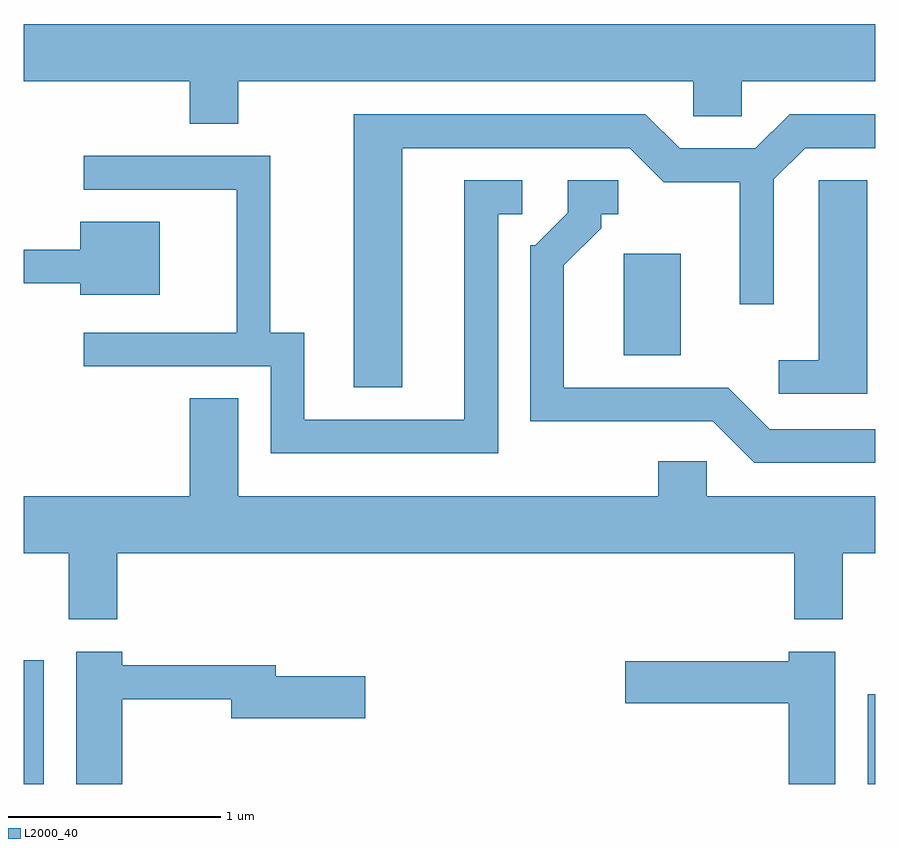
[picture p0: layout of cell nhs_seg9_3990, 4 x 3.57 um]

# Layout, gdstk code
import gdstk
lib = gdstk.Library(unit=1e-6, precision=1e-09)
def R(c, l, rs):  # rectangles x0, y0, x1, y1
    for r in rs: c.add(gdstk.rectangle(r[:2], r[2:], *l))
def P(c, l, *ps):  # polygons
    for p in ps: c.add(gdstk.Polygon(p, *l))
L2000_40 = (2000, 40)

nhs_seg9_3990 = lib.new_cell('nhs_seg9_3990')
R(nhs_seg9_3990, L2000_40, [(301.611,2068.432,301.704,2069.014), (305.576,2068.432,305.611,2068.854), (304.431,2070.446,304.699,2070.924)])
P(nhs_seg9_3990, L2000_40, [(302.619,2071.736),(304.756,2071.736),(304.756,2071.571),(304.984,2071.571),(304.984,2071.736),(305.611,2071.736),(305.611,2072.004),(301.611,2072.004),(301.611,2071.736),(302.391,2071.736),(302.391,2071.536),(302.619,2071.536)],
  [(303.389,2071.421),(304.459,2071.421),(304.619,2071.261),(304.976,2071.261),(304.976,2070.688),(305.134,2070.688),(305.134,2071.274),(305.282,2071.421),(305.611,2071.421),(305.611,2071.579),(305.209,2071.579),(305.049,2071.419),(304.692,2071.419),(304.532,2071.579),(303.161,2071.579),(303.161,2070.296),(303.389,2070.296)],
  [(303.839,2071.111),(303.953,2071.111),(303.953,2071.269),(303.681,2071.269),(303.681,2070.144),(302.929,2070.144),(302.929,2070.554),(302.769,2070.554),(302.769,2071.384),(301.893,2071.384),(301.893,2071.226),(302.611,2071.226),(302.611,2070.554),(301.893,2070.554),(301.893,2070.396),(302.771,2070.396),(302.771,2069.986),(303.839,2069.986)],
  [(305.611,2070.099),(305.117,2070.099),(304.922,2070.294),(304.149,2070.294),(304.149,2070.869),(304.324,2071.044),(304.324,2071.111),(304.403,2071.111),(304.403,2071.269),(304.166,2071.269),(304.166,2071.117),(304.014,2070.964),(303.991,2070.964),(303.991,2070.136),(304.849,2070.136),(305.044,2069.941),(305.611,2069.941)],
  [(305.574,2071.269),(305.346,2071.269),(305.346,2070.424),(305.158,2070.424),(305.158,2070.266),(305.574,2070.266)],
  [(302.249,2071.074),(301.876,2071.074),(301.876,2070.944),(301.611,2070.944),(301.611,2070.786),(301.876,2070.786),(301.876,2070.731),(302.249,2070.731)],
  [(302.049,2069.516),(305.231,2069.516),(305.231,2069.206),(305.459,2069.206),(305.459,2069.516),(305.611,2069.516),(305.611,2069.784),(304.819,2069.784),(304.819,2069.949),(304.591,2069.949),(304.591,2069.784),(302.619,2069.784),(302.619,2070.244),(302.391,2070.244),(302.391,2069.784),(301.611,2069.784),(301.611,2069.516),(301.821,2069.516),(301.821,2069.206),(302.049,2069.206)],
  [(302.074,2068.831),(302.586,2068.831),(302.586,2068.741),(303.214,2068.741),(303.214,2068.939),(302.794,2068.939),(302.794,2068.989),(302.074,2068.989),(302.074,2069.054),(301.856,2069.054),(301.856,2068.432),(302.074,2068.432)],
  [(305.424,2069.054),(305.206,2069.054),(305.206,2069.009),(304.436,2069.009),(304.436,2068.811),(305.206,2068.811),(305.206,2068.432),(305.424,2068.432)])

lib.write_gds('nhs_seg9_3990.gds')
